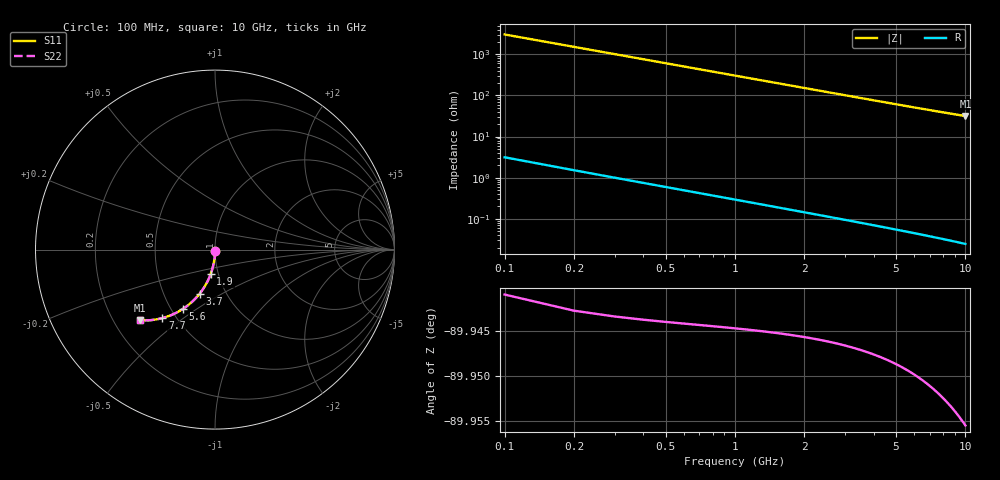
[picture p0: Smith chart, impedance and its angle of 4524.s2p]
# Hz S RI R 50.00
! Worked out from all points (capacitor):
!   100 points, 100 MHz to 10 GHz, reference 50 ohm
!   read as one part in shunt: C = 525 fF near 100 MHz
!   lowest |Z| = 31.5 ohm at 10 GHz (marker M1)
!   S11 on the Smith chart (normalised r, x): 100 MHz: 1.00, -0.01; 1.9 GHz: 0.92, -0.25; 3.7 GHz: 0.75, -0.40; 5.6 GHz: 0.57, -0.44; 7.7 GHz: 0.42, -0.42; 10 GHz: 0.31, -0.36
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1e8  0.000141 -0.00728  0.9997 -0.00921  0.9997 -0.00921  0.000141 -0.00728
2e8  -6.66e-05 -0.0146  0.9995 -0.0184  0.9995 -0.0184  -6.66e-05 -0.0146
3e8  -0.000409 -0.0218  0.9991 -0.0276  0.9991 -0.0276  -0.000409 -0.0218
4e8  -0.000884 -0.0291  0.9986 -0.0368  0.9986 -0.0368  -0.000884 -0.0291
5e8  -0.00149 -0.0363  0.998 -0.046  0.998 -0.046  -0.00149 -0.0363
6e8  -0.00224 -0.0436  0.9973 -0.0551  0.9973 -0.0551  -0.00224 -0.0436
8e8  -0.00412 -0.058  0.9953 -0.0734  0.9953 -0.0734  -0.00412 -0.058
1.1e9  -0.00793 -0.0794  0.9914 -0.1006  0.9914 -0.1006  -0.00793 -0.0794
1.4e9  -0.0129 -0.1006  0.9863 -0.1276  0.9863 -0.1276  -0.0129 -0.1006
1.8e9  -0.0213 -0.1282  0.9777 -0.1629  0.9777 -0.1629  -0.0213 -0.1282
1.9e9  -0.0237 -0.135  0.9752 -0.1716  0.9752 -0.1716  -0.0237 -0.135
2.2e9  -0.0316 -0.1549  0.9671 -0.1975  0.9671 -0.1975  -0.0316 -0.1549
2.6e9  -0.0437 -0.1807  0.9546 -0.231  0.9546 -0.231  -0.0437 -0.1807
3.4e9  -0.0728 -0.2286  0.9245 -0.2945  0.9245 -0.2945  -0.0728 -0.2286
3.7e9  -0.0853 -0.2452  0.9117 -0.317  0.9117 -0.317  -0.0853 -0.2452
4.4e9  -0.117 -0.2806  0.8789 -0.3662  0.8789 -0.3662  -0.117 -0.2806
5.1e9  -0.1517 -0.3111  0.8428 -0.4106  0.8428 -0.4106  -0.1517 -0.3111
5.6e9  -0.1779 -0.3299  0.8156 -0.4394  0.8156 -0.4394  -0.1779 -0.3299
6.7e9  -0.238 -0.3623  0.7528 -0.494  0.7528 -0.494  -0.238 -0.3623
7.7e9  -0.2936 -0.3815  0.6943 -0.5336  0.6943 -0.5336  -0.2936 -0.3815
8.4e9  -0.3321 -0.3897  0.6534 -0.5562  0.6534 -0.5562  -0.3321 -0.3897
1e10  -0.4161 -0.3939  0.5631 -0.5941  0.5631 -0.5941  -0.4161 -0.3939
